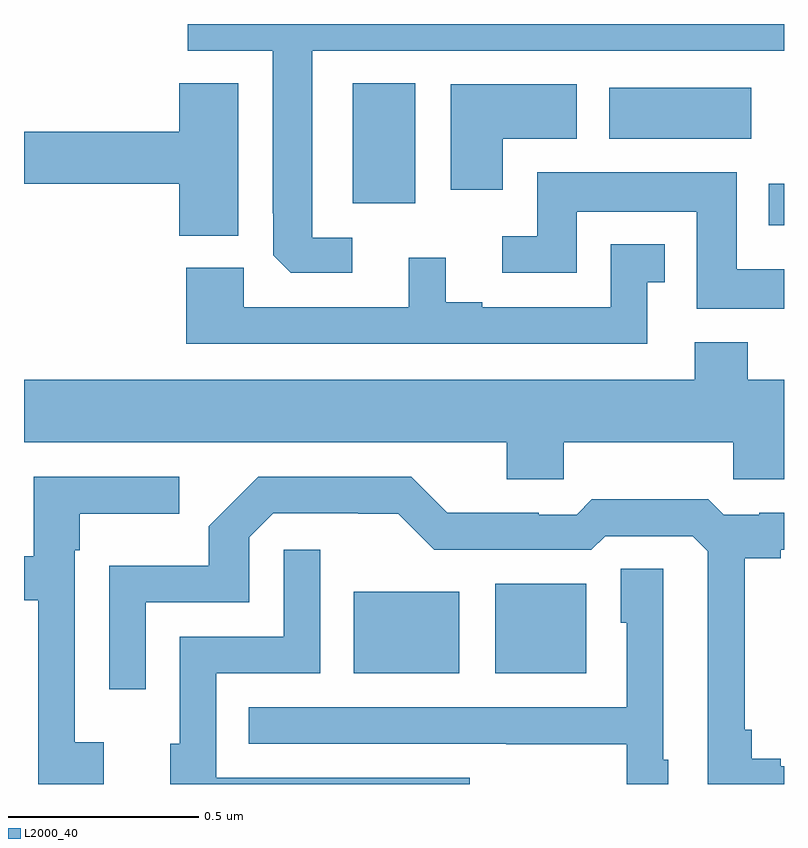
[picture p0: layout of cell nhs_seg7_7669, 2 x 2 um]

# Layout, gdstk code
import gdstk
lib = gdstk.Library(unit=1e-6, precision=1e-09)
def R(c, l, rs):  # rectangles x0, y0, x1, y1
    for r in rs: c.add(gdstk.rectangle(r[:2], r[2:], *l))
def P(c, l, *ps):  # polygons
    for p in ps: c.add(gdstk.Polygon(p, *l))
L2000_40 = (2000, 40)

nhs_seg7_7669 = lib.new_cell('nhs_seg7_7669')
R(nhs_seg7_7669, L2000_40, [(214.868,1049.291,215.146,1049.506), (215.24,1049.291,215.479,1049.527), (215.96,1050.47,216,1050.58), (214.865,1050.528,215.029,1050.844), (215.54,1050.698,215.914,1050.832)])
P(nhs_seg7_7669, L2000_40, [(214.864,1050.438),(214.759,1050.438),(214.759,1050.929),(216,1050.929),(216,1051),(214.431,1051),(214.431,1050.929),(214.655,1050.929),(214.655,1050.502),(214.656,1050.502),(214.656,1050.391),(214.702,1050.345),(214.864,1050.345)],
  [(214.564,1050.844),(214.409,1050.844),(214.409,1050.716),(214,1050.716),(214,1050.58),(214.409,1050.58),(214.409,1050.443),(214.564,1050.443)],
  [(215.26,1050.698),(215.455,1050.698),(215.455,1050.841),(215.123,1050.841),(215.123,1050.564),(215.26,1050.564)],
  [(216,1050.355),(215.875,1050.355),(215.875,1050.61),(215.351,1050.61),(215.351,1050.441),(215.259,1050.441),(215.259,1050.345),(215.455,1050.345),(215.455,1050.506),(215.771,1050.506),(215.771,1050.251),(216,1050.251)],
  [(215.64,1050.321),(215.686,1050.321),(215.686,1050.421),(215.544,1050.421),(215.544,1050.255),(215.206,1050.255),(215.206,1050.268),(215.11,1050.268),(215.11,1050.385),(215.012,1050.385),(215.012,1050.255),(214.578,1050.255),(214.578,1050.358),(214.427,1050.358),(214.427,1050.159),(215.64,1050.159)],
  [(215.421,1049.9),(215.866,1049.9),(215.866,1049.802),(216,1049.802),(216,1050.064),(215.905,1050.064),(215.905,1050.163),(215.765,1050.163),(215.765,1050.064),(214,1050.064),(214,1049.9),(215.27,1049.9),(215.27,1049.802),(215.421,1049.802)],
  [(214.21,1049.11),(214.134,1049.11),(214.134,1049.615),(214.147,1049.615),(214.147,1049.711),(214.408,1049.711),(214.408,1049.808),(214.026,1049.808),(214.026,1049.6),(214,1049.6),(214,1049.484),(214.037,1049.484),(214.037,1049),(214.21,1049)],
  [(216,1049.047),(215.992,1049.047),(215.992,1049.066),(215.915,1049.066),(215.915,1049.143),(215.897,1049.143),(215.897,1049.594),(215.992,1049.594),(215.992,1049.616),(216,1049.616),(216,1049.714),(215.935,1049.714),(215.935,1049.709),(215.841,1049.709),(215.801,1049.749),(215.494,1049.749),(215.454,1049.709),(215.354,1049.709),(215.354,1049.714),(215.114,1049.714),(215.019,1049.808),(214.616,1049.808),(214.486,1049.678),(214.486,1049.575),(214.224,1049.575),(214.224,1049.25),(214.32,1049.25),(214.32,1049.478),(214.593,1049.478),(214.593,1049.649),(214.656,1049.712),(214.88,1049.712),(214.88,1049.711),(214.985,1049.711),(215.079,1049.616),(215.493,1049.616),(215.529,1049.652),(215.76,1049.652),(215.799,1049.613),(215.799,1049),(216,1049)],
  [(215.173,1049.016),(214.506,1049.016),(214.506,1049.292),(214.779,1049.292),(214.779,1049.617),(214.683,1049.617),(214.683,1049.388),(214.41,1049.388),(214.41,1049.106),(214.385,1049.106),(214.385,1049),(215.173,1049)],
  [(215.695,1049.064),(215.682,1049.064),(215.682,1049.567),(215.57,1049.567),(215.57,1049.424),(215.586,1049.424),(215.586,1049.202),(214.591,1049.202),(214.591,1049.106),(215.269,1049.106),(215.269,1049.105),(215.586,1049.105),(215.586,1049),(215.695,1049)])

lib.write_gds('nhs_seg7_7669.gds')
